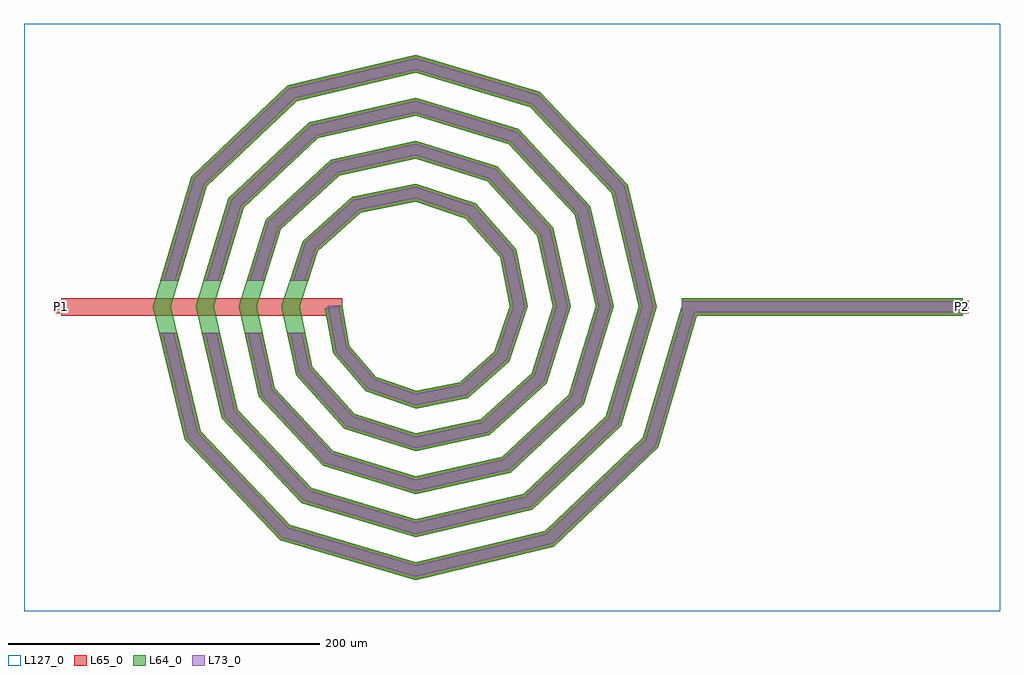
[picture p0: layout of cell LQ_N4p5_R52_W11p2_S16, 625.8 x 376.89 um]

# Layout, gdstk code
import gdstk
lib = gdstk.Library(unit=1e-6, precision=1e-09)
def R(c, l, rs):  # rectangles x0, y0, x1, y1
    for r in rs: c.add(gdstk.rectangle(r[:2], r[2:], *l))
def P(c, l, *ps):  # polygons
    for p in ps: c.add(gdstk.Polygon(p, *l))
L64_0 = (64, 0)
L65_0 = (65, 0)
L73_0 = (73, 0)
L127_0 = (127, 0)

lq_n4p5_r52_w11p2_s16 = lib.new_cell('LQ_N4p5_R52_W11p2_S16')
R(lq_n4p5_r52_w11p2_s16, L64_0, [(170.803,-5.6,350.803,5.6)])
P(lq_n4p5_r52_w11p2_s16, L64_0, [(-42.303,-24.944),(-25.325,-44.729),(0.416,-53.691),(28.338,-48.282),(50.66,-28.802),(60.566,0.373),(54.257,31.742),(32.273,56.597),(0.338,67.443),(-35.151,60.228),(-62.536,35.738),(-74.319,0.309),(-66.197,-38.566),(-39.199,-68.479),(0.285,-81.196),(41.985,-72.165),(74.424,-42.656),(88.074,0.264),(78.13,45.406),(46.111,80.371),(0.246,94.951),(-48.83,84.095),(-86.318,49.564),(-101.829,0.23),(-90.059,-52.256),(-53.015,-92.267),(0.217,-108.706),(55.683,-96.022),(98.217,-56.465),(115.584,0.204),(101.984,59.112),(59.914,104.168),(0.193,122.462),(-62.542,107.946),(-110.119,63.362),(-129.34,0.183),(-113.907,-65.972),(-66.809,-116.071),(0.175,-136.218),(69.404,-119.867),(122.023,-70.255),(143.095,0.167),(125.828,72.836),(73.7,127.976),(0.159,149.973),(-76.269,131.788),(-133.929,77.145),(-156.851,0.152),(-137.748,-79.702),(-80.59,-139.882),(0.146,-163.729),(83.136,-143.707),(145.836,-84.034),(171.031,1.581),(181.776,-1.581),(155.733,-90.077),(88.682,-153.89),(0.146,-175.321),(-86.643,-149.773),(-147.937,-85.238),(-168.443,0.152),(-143.813,83.209),(-81.793,141.983),(0.159,161.565),(79.776,137.853),(136.03,78.348),(154.686,0.167),(131.892,-76.343),(74.902,-130.077),(0.175,-147.808),(-72.911,-125.931),(-124.125,-71.455),(-140.93,0.183),(-119.97,69.48),(-68.008,118.172),(0.193,134.051),(66.05,114.008),(112.221,64.559),(127.173,0.204),(108.045,-62.62),(61.11,-106.27),(0.217,-120.294),(-59.192,-102.082),(-100.319,-57.659),(-113.416,0.23),(-96.118,55.765),(-54.207,94.37),(0.246,106.537),(52.34,90.152),(88.421,50.752),(99.658,0.264),(84.186,-48.917),(47.296,-82.474),(0.285,-92.779),(-45.497,-78.217),(-76.528,-43.836),(-85.9,0.309),(-72.247,42.079),(-40.373,70.584),(0.338,79.021),(38.666,66.273),(64.642,36.905),(72.141,0.373),(60.296,-35.258),(33.43,-58.704),(0.416,-65.26),(-31.858,-54.314),(-52.769,-29.946),(-58.104,-1.016),(-47.09,1.016)])
R(lq_n4p5_r52_w11p2_s16, L65_0, [(-226.997,-5.6,-46.997,5.6), (170.803,-5.6,350.803,5.6), (-230.997,-4,-222.997,4), (346.803,-4,354.803,4)])
P(lq_n4p5_r52_w11p2_s16, L65_0, [(-137.748,-79.702),(-80.59,-139.882),(0.146,-163.729),(83.136,-143.707),(145.836,-84.034),(171.031,1.581),(181.776,-1.581),(155.733,-90.077),(88.682,-153.89),(0.146,-175.321),(-86.643,-149.773),(-147.937,-85.238),(-164.372,-16.8),(-152.853,-16.8)],
  [(-113.907,-65.972),(-66.809,-116.071),(0.175,-136.218),(69.404,-119.867),(122.023,-70.255),(143.095,0.167),(125.828,72.836),(73.7,127.976),(0.159,149.973),(-76.269,131.788),(-133.929,77.145),(-151.824,16.8),(-163.506,16.8),(-143.813,83.209),(-81.793,141.983),(0.159,161.565),(79.776,137.853),(136.03,78.348),(154.686,0.167),(131.892,-76.343),(74.902,-130.077),(0.175,-147.808),(-72.911,-125.931),(-124.125,-71.455),(-136.946,-16.8),(-125.442,-16.8)],
  [(-90.059,-52.256),(-53.016,-92.267),(0.217,-108.706),(55.683,-96.022),(98.217,-56.465),(115.584,0.204),(101.984,59.112),(59.914,104.168),(0.193,122.462),(-62.542,107.946),(-110.119,63.362),(-124.203,16.8),(-135.904,16.8),(-119.97,69.48),(-68.008,118.173),(0.193,134.051),(66.05,114.008),(112.221,64.559),(127.173,0.204),(108.045,-62.62),(61.11,-106.27),(0.217,-120.294),(-59.192,-102.082),(-100.32,-57.659),(-109.563,-16.8),(-98.08,-16.8)],
  [(-66.197,-38.566),(-39.199,-68.479),(0.285,-81.196),(41.985,-72.165),(74.424,-42.656),(88.074,0.264),(78.13,45.406),(46.111,80.371),(0.246,94.951),(-48.83,84.095),(-86.319,49.564),(-96.524,16.8),(-108.255,16.8),(-96.118,55.765),(-54.207,94.37),(0.246,106.537),(52.34,90.152),(88.421,50.753),(99.658,0.264),(84.186,-48.917),(47.296,-82.474),(0.285,-92.78),(-45.497,-78.217),(-76.528,-43.836),(-82.268,-16.8),(-70.818,-16.8)],
  [(-25.325,-44.729),(0.416,-53.691),(28.338,-48.282),(50.66,-28.802),(60.566,0.373),(54.257,31.742),(32.273,56.597),(0.338,67.443),(-35.152,60.228),(-62.536,35.738),(-68.727,16.8),(-80.51,16.8),(-72.247,42.079),(-40.373,70.584),(0.338,79.021),(38.666,66.273),(64.642,36.905),(72.141,0.373),(60.296,-35.259),(33.43,-58.704),(0.416,-65.26),(-31.858,-54.314),(-52.769,-29.946),(-58.105,-1.016),(-47.09,1.016),(-42.303,-24.944)])
R(lq_n4p5_r52_w11p2_s16, L73_0, [(170.803,-3.6,350.803,3.6)])
P(lq_n4p5_r52_w11p2_s16, L73_0, [(-139.567,-80.691),(-81.671,-141.649),(0.094,-165.799),(84.126,-145.526),(147.603,-85.113),(172.95,1.016),(179.857,-1.016),(153.965,-88.998),(87.692,-152.072),(0.094,-173.251),(-85.562,-148.007),(-146.117,-84.249),(-162.315,-16.8),(-154.91,-16.8)],
  [(-115.731,-66.951),(-67.899,-117.832),(0.112,-138.287),(70.386,-121.691),(123.786,-71.342),(145.165,0.107),(127.65,73.82),(74.785,129.74),(0.102,152.043),(-77.255,133.608),(-135.694,78.228),(-153.91,16.8),(-161.42,16.8),(-142.048,82.126),(-80.806,140.163),(0.102,159.495),(78.691,136.089),(134.208,77.363),(152.617,0.107),(130.13,-75.256),(73.92,-128.254),(0.112,-145.738),(-71.822,-124.171),(-122.3,-70.476),(-134.891,-16.8),(-127.496,-16.8)],
  [(-91.891,-53.221),(-54.119,-94.02),(0.139,-110.776),(56.652,-97.852),(99.972,-57.565),(117.654,0.131),(103.812,60.085),(61.01,105.925),(0.124,124.531),(-63.518,109.772),(-111.878,64.454),(-126.292,16.8),(-133.814,16.8),(-118.211,68.388),(-67.032,116.346),(0.124,131.982),(64.954,112.251),(110.393,63.587),(125.104,0.131),(106.29,-61.521),(60.141,-104.44),(0.139,-118.225),(-58.089,-100.329),(-98.487,-56.694),(-107.513,-16.8),(-100.131,-16.8)],
  [(-68.042,-39.507),(-40.323,-70.218),(0.183,-83.265),(42.933,-74.006),(76.167,-43.774),(90.142,0.17),(79.968,46.361),(47.224,82.117),(0.158,97.02),(-49.79,85.93),(-88.068,50.672),(-98.619,16.8),(-106.16,16.8),(-94.368,54.658),(-53.247,92.535),(0.158,104.468),(51.228,88.406),(86.584,49.798),(97.59,0.17),(82.443,-47.799),(46.347,-80.633),(0.183,-90.711),(-44.372,-76.478),(-74.683,-42.895),(-80.223,-16.8),(-72.863,-16.8)],
  [(-26.491,-46.441),(0.268,-55.757),(29.248,-50.143),(52.381,-29.955),(62.633,0.24),(56.111,32.664),(33.415,58.325),(0.218,69.51),(-36.084,62.077),(-64.27,36.87),(-70.831,16.8),(-78.406,16.8),(-70.513,40.947),(-39.441,68.735),(0.218,76.953),(37.525,64.545),(62.788,35.983),(70.074,0.24),(58.576,-34.106),(32.521,-56.843),(0.268,-63.194),(-30.691,-52.603),(-50.9,-29.053),(-56.138,0.653),(-49.057,0.653),(-44.172,-25.837)])
R(lq_n4p5_r52_w11p2_s16, L127_0, [(-250.997,-195.321,374.803,181.565)])
lq_n4p5_r52_w11p2_s16.add(gdstk.Label('P2', (350.803,0), layer=65, texttype=0))
lq_n4p5_r52_w11p2_s16.add(gdstk.Label('P1', (-226.997,0), layer=65, texttype=0))
lq_n4p5_r52_w11p2_s16.add(gdstk.Label('P2', (354.803,0), layer=145, texttype=0))
lq_n4p5_r52_w11p2_s16.add(gdstk.Label('P1', (-230.997,0), layer=145, texttype=0))

lib.write_gds('LQ_N4p5_R52_W11p2_S16.gds')
